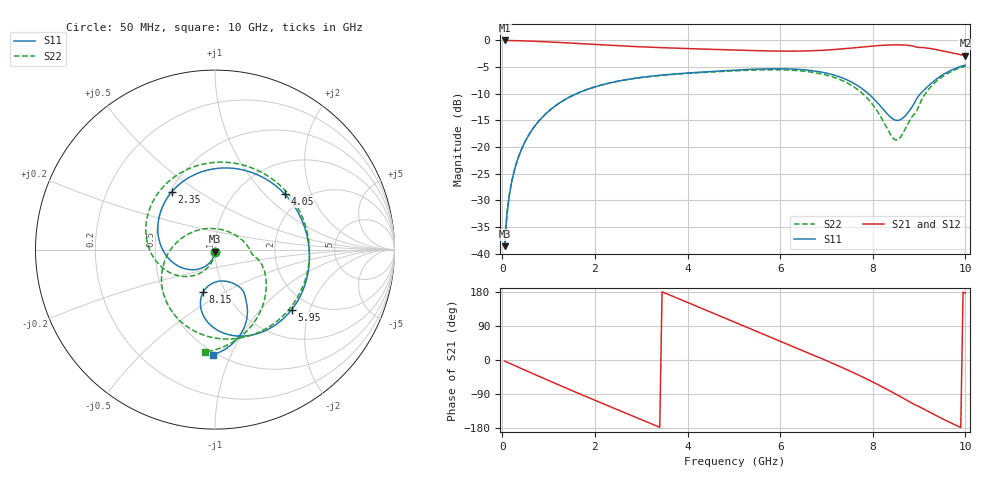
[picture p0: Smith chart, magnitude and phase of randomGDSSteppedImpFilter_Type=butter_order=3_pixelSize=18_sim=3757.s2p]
! freq	dB(S11)	phase(S11)	dB(S12)	phase(S12)
!  dB(S21)	phase(S21)	dB(S22)	phase(S22)
!S-par simulation data
#  GHz  S  DB  R 50
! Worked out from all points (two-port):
!   200 points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, 50 MHz to 10 GHz, reference 50 ohm
!   highest |S21| = 0.00 dB at 50 MHz (marker M1); lowest = -2.8 dB at 10 GHz (marker M2)
!   |S21| within 3 dB of the highest: start of sweep to end of sweep
!   lowest |S11| = -38.6 dB at 50 MHz (marker M3), VSWR 1.02, Z = 49.9 - j1.17 ohm
!   |S11| at or under -10 dB: start of sweep to 1.602 GHz; 7.907 GHz to 9.029 GHz (1.122 GHz wide, 13.2 % of centre)
!   |S22| runs from -38.6 to -4.8 dB; largest |S21 - S12| = 0
!   S11 on the Smith chart (normalised r, x): 50 MHz: 1.00, -0.02; 2.35 GHz: 0.51, +0.39; 4.05 GHz: 1.60, +1.32; 5.95 GHz: 1.60, -1.52; 8.15 GHz: 0.79, -0.40; 10 GHz: 0.48, -0.86
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0.05  -38.59 -92.8  -0.00 -2.8  -0.00 -2.8  -38.59 -92.0
0.1  -32.60 -96.1  -0.01 -5.5  -0.01 -5.5  -32.59 -94.4
0.2  -26.64 -102.7  -0.03 -11.0  -0.03 -11.0  -26.62 -99.2
0.5  -18.86 -122.0  -0.09 -27.3  -0.09 -27.3  -18.84 -113.5
1.15  -12.25 -162.5  -0.34 -62.1  -0.34 -62.1  -12.23 -143.0
1.75  -9.46 161.4  -0.64 -93.4  -0.64 -93.4  -9.46 -169.7
2.35  -7.91 126.6  -0.93 -124.2  -0.93 -124.2  -7.92 163.6
2.9  -7.05 96.1  -1.16 -152.1  -1.16 -152.1  -7.07 138.2
3.4  -6.54 70.0  -1.34 -177.5  -1.34 -177.5  -6.58 113.8
4.05  -6.08 38.7  -1.54 149.4  -1.54 149.4  -6.15 79.2
4.55  -5.81 16.7  -1.68 123.7  -1.68 123.7  -5.91 50.4
5.05  -5.56 -3.7  -1.81 98.0  -1.81 98.0  -5.69 20.1
5.5  -5.38 -21.1  -1.92 74.9  -1.92 74.9  -5.54 -7.9
5.95  -5.31 -38.0  -2.00 52.0  -2.00 52.0  -5.50 -36.0
6.7  -5.68 -65.8  -1.93 13.8  -1.93 13.8  -5.98 -82.7
7.5  -7.62 -94.3  -1.46 -28.7  -1.46 -28.7  -8.22 -136.0
8.15  -12.16 -105.5  -0.94 -67.3  -0.94 -67.3  -14.01 162.3
8.35  -14.12 -97.9  -0.85 -80.2  -0.85 -80.2  -17.18 126.5
8.6  -14.86 -75.4  -0.84 -96.8  -0.84 -96.8  -18.13 54.4
9.2  -8.53 -61.2  -1.46 -135.9  -1.46 -135.9  -9.22 -34.3
9.55  -6.23 -72.6  -2.04 -157.8  -2.04 -157.8  -6.54 -64.4
10  -4.64 -91.0  -2.85 176.4  -2.85 176.4  -4.84 -95.4
